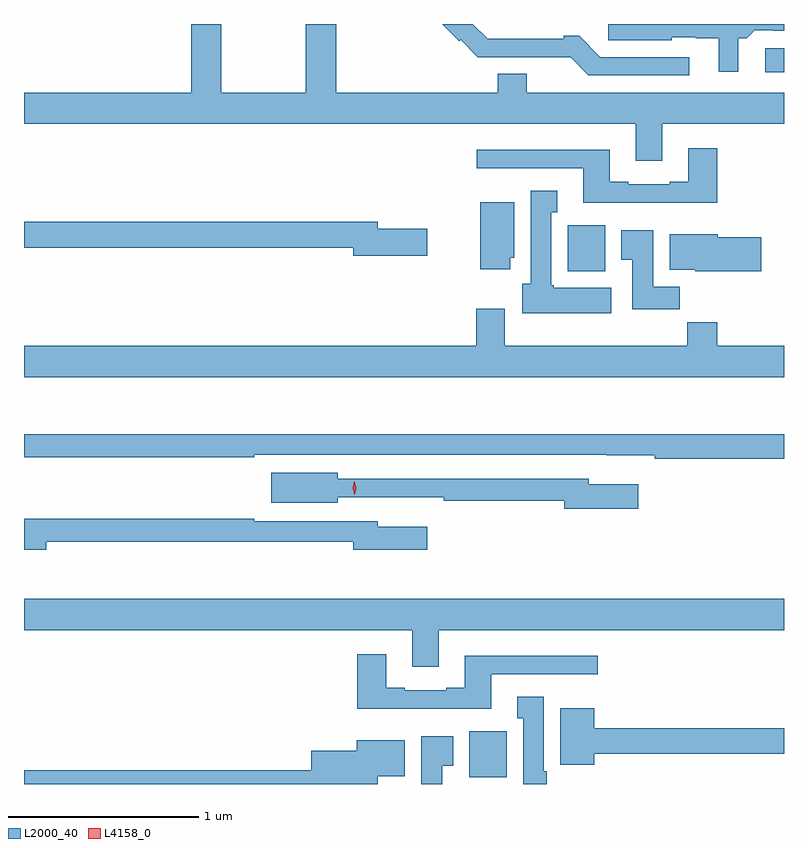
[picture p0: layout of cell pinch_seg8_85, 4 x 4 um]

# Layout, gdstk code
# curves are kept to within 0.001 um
import gdstk
lib = gdstk.Library(unit=1e-6, precision=1e-09)
def R(c, l, rs):  # rectangles x0, y0, x1, y1
    for r in rs: c.add(gdstk.rectangle(r[:2], r[2:], *l))
def P(c, l, *ps):  # polygons
    for p in ps: c.add(gdstk.Polygon(p, *l))
L2000_40 = (2000, 40)
L4158_0 = (4158, 0)

pinch_seg8_85 = lib.new_cell('pinch_seg8_85')
R(pinch_seg8_85, L2000_40, [(1019.099,1107.734,1019.296,1107.976), (1019.618,1110.398,1019.815,1110.64), (1020.657,1111.443,1020.756,1111.57)])
P(pinch_seg8_85, L2000_40, [(1020.514,1111.622),(1020.56,1111.622),(1020.603,1111.665),(1020.703,1111.665),(1020.703,1111.662),(1020.756,1111.662),(1020.756,1111.698),(1019.831,1111.698),(1019.831,1111.613),(1020.165,1111.613),(1020.165,1111.629),(1020.291,1111.629),(1020.291,1111.622),(1020.413,1111.622),(1020.413,1111.446),(1020.514,1111.446)],
  [(1020.256,1111.524),(1019.79,1111.524),(1019.678,1111.636),(1019.597,1111.636),(1019.597,1111.62),(1019.196,1111.62),(1019.119,1111.698),(1018.958,1111.698),(1019.048,1111.607),(1019.055,1111.615),(1019.145,1111.524),(1019.633,1111.523),(1019.727,1111.428),(1020.256,1111.428)],
  [(1020.115,1111.172),(1020.756,1111.172),(1020.756,1111.336),(1019.401,1111.336),(1019.401,1111.435),(1019.249,1111.435),(1019.249,1111.336),(1018.4,1111.336),(1018.4,1111.698),(1018.24,1111.698),(1018.24,1111.336),(1017.795,1111.336),(1017.795,1111.698),(1017.635,1111.698),(1017.635,1111.336),(1016.756,1111.336),(1016.756,1111.172),(1019.975,1111.172),(1019.975,1110.978),(1020.115,1110.978)],
  [(1020.404,1111.045),(1020.251,1111.045),(1020.251,1110.868),(1020.155,1110.868),(1020.155,1110.855),(1019.935,1110.855),(1019.935,1110.868),(1019.839,1110.868),(1019.839,1111.036),(1019.139,1111.036),(1019.139,1110.939),(1019.699,1110.939),(1019.699,1110.758),(1020.404,1110.758)],
  [(1019.848,1110.31),(1019.544,1110.31),(1019.544,1110.324),(1019.53,1110.324),(1019.53,1110.707),(1019.563,1110.707),(1019.563,1110.82),(1019.423,1110.82),(1019.423,1110.33),(1019.378,1110.33),(1019.378,1110.176),(1019.848,1110.176)],
  [(1019.314,1110.468),(1019.335,1110.468),(1019.335,1110.76),(1019.156,1110.76),(1019.156,1110.408),(1019.314,1110.408)],
  [(1018.879,1110.62),(1018.618,1110.62),(1018.618,1110.656),(1016.756,1110.656),(1016.756,1110.52),(1018.49,1110.52),(1018.49,1110.478),(1018.879,1110.478)],
  [(1020.206,1110.316),(1020.067,1110.316),(1020.067,1110.613),(1019.9,1110.613),(1019.9,1110.457),(1019.957,1110.457),(1019.957,1110.198),(1020.206,1110.198)],
  [(1020.637,1110.575),(1020.406,1110.575),(1020.406,1110.592),(1020.155,1110.592),(1020.155,1110.404),(1020.288,1110.404),(1020.288,1110.398),(1020.637,1110.398)],
  [(1020.756,1110.004),(1020.404,1110.004),(1020.404,1110.128),(1020.247,1110.128),(1020.247,1110.004),(1019.287,1110.004),(1019.287,1110.199),(1019.135,1110.199),(1019.135,1110.004),(1016.756,1110.004),(1016.756,1109.84),(1020.756,1109.84)],
  [(1020.756,1109.539),(1016.756,1109.539),(1016.756,1109.418),(1017.968,1109.418),(1017.968,1109.43),(1019.824,1109.43),(1019.824,1109.429),(1020.076,1109.429),(1020.076,1109.41),(1020.756,1109.41)],
  [(1019.989,1109.275),(1019.728,1109.275),(1019.728,1109.304),(1018.408,1109.304),(1018.408,1109.335),(1018.056,1109.335),(1018.056,1109.177),(1018.408,1109.177),(1018.408,1109.208),(1018.714,1109.208),(1018.714,1109.207),(1018.966,1109.207),(1018.966,1109.188),(1019.6,1109.188),(1019.6,1109.146),(1019.989,1109.146)],
  [(1016.872,1108.974),(1018.49,1108.974),(1018.49,1108.931),(1018.879,1108.931),(1018.879,1109.053),(1018.618,1109.053),(1018.618,1109.082),(1017.968,1109.082),(1017.968,1109.095),(1016.756,1109.095),(1016.756,1108.931),(1016.872,1108.931)],
  [(1018.939,1108.508),(1020.756,1108.508),(1020.756,1108.672),(1016.756,1108.672),(1016.756,1108.508),(1018.799,1108.508),(1018.799,1108.314),(1018.939,1108.314)],
  [(1019.215,1108.275),(1019.776,1108.275),(1019.776,1108.372),(1019.075,1108.372),(1019.075,1108.204),(1018.979,1108.204),(1018.979,1108.191),(1018.759,1108.191),(1018.759,1108.204),(1018.663,1108.204),(1018.663,1108.381),(1018.511,1108.381),(1018.511,1108.094),(1019.215,1108.094)],
  [(1019.506,1107.766),(1019.491,1107.766),(1019.491,1108.156),(1019.351,1108.156),(1019.351,1108.043),(1019.384,1108.043),(1019.384,1107.698),(1019.506,1107.698)],
  [(1019.758,1107.856),(1020.756,1107.856),(1020.756,1107.992),(1019.758,1107.992),(1019.758,1108.096),(1019.579,1108.096),(1019.579,1107.8),(1019.758,1107.8)],
  [(1018.957,1107.793),(1019.014,1107.793),(1019.014,1107.949),(1018.847,1107.949),(1018.847,1107.698),(1018.957,1107.698)],
  [(1018.618,1107.74),(1018.759,1107.74),(1018.759,1107.928),(1018.508,1107.928),(1018.508,1107.874),(1018.268,1107.874),(1018.268,1107.77),(1016.756,1107.77),(1016.756,1107.698),(1018.618,1107.698)])
P(pinch_seg8_85, L4158_0, [(1018.496,1109.22),(1018.496,1109.22),(1018.485,1109.255),(1018.494,1109.292),(1018.494,1109.292),(1018.494,1109.292),(1018.505,1109.256),(1018.496,1109.22)])

lib.write_gds('pinch_seg8_85.gds')
